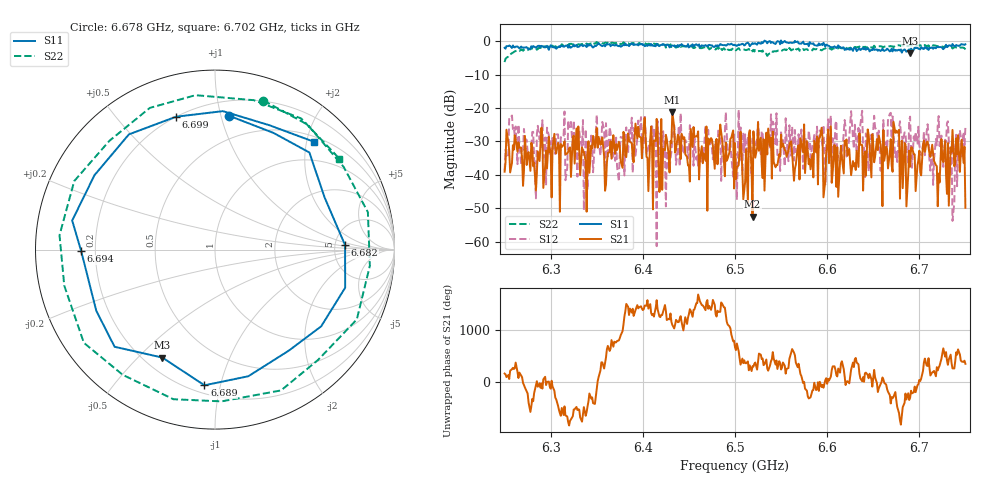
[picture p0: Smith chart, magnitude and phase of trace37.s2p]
# Hz S RI R 50
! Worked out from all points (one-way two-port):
!   401 points, 6.25 GHz to 6.75 GHz, reference 50 ohm
!   highest |S21| = -21.16 dB at 6.432 GHz (marker M1); lowest = -52.5 dB at 6.519 GHz (marker M2)
!   lowest |S11| = -3.5 dB at 6.69 GHz (marker M3), VSWR 5.05, Z = 13.6 - j29.6 ohm
!   |S11| at or under -10 dB: nowhere
!   |S22| runs from -6.2 to -0.2 dB; largest |S21 - S12| = 0.12
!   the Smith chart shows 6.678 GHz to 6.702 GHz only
!   S11 on the Smith chart (normalised r, x): 6.678 GHz: 0.31, +1.06; 6.682 GHz: 6.21, +0.65; 6.689 GHz: 0.25, -0.89; 6.694 GHz: 0.15, -0.01; 6.699 GHz: 0.20, +0.73; 6.702 GHz: 0.60, +2.15
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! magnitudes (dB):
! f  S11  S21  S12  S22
! 6.25 GHz  -2.0  -39.1  -38.8  -6.2
! 6.258 GHz  -2.0  -36.5  -22.2  -3.6
! 6.266 GHz  -2.1  -31.9  -30.6  -2.9
! 6.334 GHz  -1.2  -31.8  -31.7  -0.8
! 6.396 GHz  -1.0  -28.5  -27.9  -0.5
! 6.418 GHz  -1.4  -45.2  -34.4  -1.2
! 6.432 GHz  -1.3  -21.2  -29.3  -1.5
! 6.489 GHz  -1.1  -40.4  -27.4  -2.5
! 6.5 GHz  -1.2  -30.5  -33.7  -2.3
! 6.519 GHz  -0.5  -52.5  -29.1  -3.0
! 6.584 GHz  -0.7  -33.8  -31.2  -2.7
! 6.668 GHz  -3.0  -33.6  -21.7  -1.5
! 6.678 GHz  -2.5  -26.5  -26.0  -1.2
! 6.682 GHz  -2.8  -44.0  -30.3  -1.2
! 6.689 GHz  -2.4  -32.7  -23.7  -1.3
! 6.69 GHz  -3.5  -37.6  -22.6  -1.2
! 6.694 GHz  -2.6  -33.8  -28.5  -1.2
! 6.699 GHz  -2.3  -35.6  -25.6  -1.2
! 6.702 GHz  -1.8  -40.2  -34.1  -1.3
! 6.73 GHz  -1.7  -45.7  -24.6  -1.5
! 6.739 GHz  -1.5  -36.4  -31.2  -1.7
! 6.75 GHz  -0.9  -49.9  -25.7  -2.4
